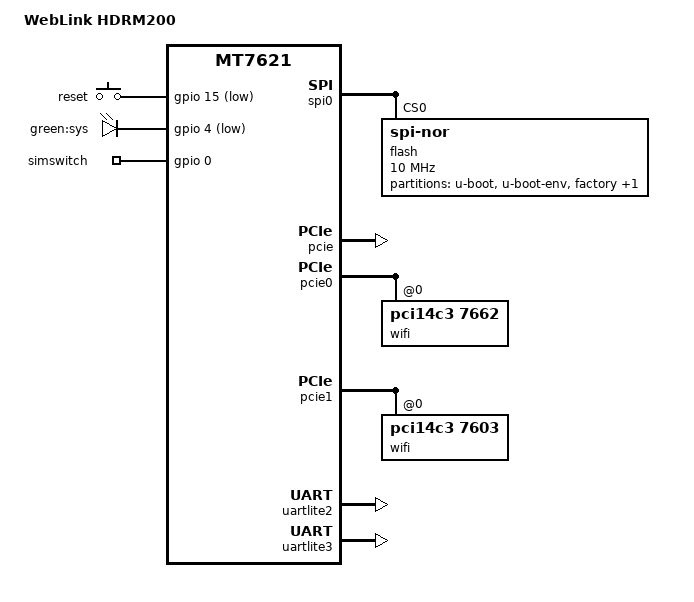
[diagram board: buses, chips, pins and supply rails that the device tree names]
#include "mt7621.dtsi"

#include <dt-bindings/gpio/gpio.h>
#include <dt-bindings/input/input.h>

/ {
	compatible = "weblink,hdrm200", "mediatek,mt7621-soc";
	model = "WebLink HDRM200";

	aliases {
		led-boot = &led_status;
		led-failsafe = &led_status;
		led-running = &led_status;
		led-upgrade = &led_status;
	};

	chosen {
		bootargs = "console=ttyS0,57600";
	};

	keys {
		compatible = "gpio-keys";

		reset {
			label = "reset";
			gpios = <&gpio 15 GPIO_ACTIVE_LOW>;
			linux,code = <KEY_RESTART>;
		};
	};
	
	leds {
		compatible = "gpio-leds";

		led_status:sys {
			label = "green:sys";
			gpios = <&gpio 4 GPIO_ACTIVE_LOW>;
		};
	};

	gpio_export {
		compatible = "gpio-export";
		#size-cells = <0>;
		simswitch {
			gpio-export,name = "simswitch";
			gpio-export,output = <0>;
			gpios = <&gpio 0 GPIO_ACTIVE_HIGH>;
		};
		
	};
			
};

&spi0 {
	status = "okay";

	flash@0 {
		compatible = "jedec,spi-nor";
		reg = <0>;
		spi-max-frequency = <10000000>;

		partitions {
			compatible = "fixed-partitions";
			#address-cells = <1>;
			#size-cells = <1>;

			partition@0 {
				label = "u-boot";
				reg = <0x0 0x30000>;
				read-only;
			};

			partition@30000 {
				label = "u-boot-env";
				reg = <0x30000 0x10000>;
				read-only;
			};

			factory: partition@40000 {
				label = "factory";
				reg = <0x40000 0x10000>;
				read-only;
			};

			firmware: partition@50000 {
				compatible = "denx,uimage";
				label = "firmware";
				reg = <0x50000 0xfb0000>;
			};
		};
	};
};

&pcie {
	status = "okay";
};

&pcie0 {
	wifi@0,0 {
		compatible = "pci14c3,7662";
		reg = <0x0000 0 0 0 0>;
		mediatek,mtd-eeprom = <&factory 0x8000>;
		ieee80211-freq-limit = <5000000 6000000>;
		mtd-mac-address = <&factory 0x4>;
		mtd-mac-address-increment = <3>;

		led {
			led-sources = <2>;
		};
	};
};

&pcie1 {
	wifi@0,0 {
		compatible = "pci14c3,7603";
		reg = <0x0000 0 0 0 0>;
		mediatek,mtd-eeprom = <&factory 0x0000>;
		mtd-mac-address = <&factory 0x4>;
		mtd-mac-address-increment = <2>;
	};
};

&gmac0 {
	mtd-mac-address = <&factory 0x4>;
};

&switch0 {
	ports {
		port@0 {
			status = "okay";
			label = "wan";
			mtd-mac-address = <&factory 0x4>;
			mtd-mac-address-increment = <1>;
		};

		port@1 {
			status = "okay";
			label = "lan1";
		};

		port@2 {
			status = "okay";
			label = "lan2";
		};

		port@3 {
			status = "okay";
			label = "lan3";
		};

		port@4 {
			status = "okay";
			label = "lan4";
		};
	};
};

&uartlite2 {
	status = "okay";
};

&uartlite3 {
	status = "okay";
};

&state_default {
	gpio {
		groups = "wdt";
		function = "gpio";
	};
};
